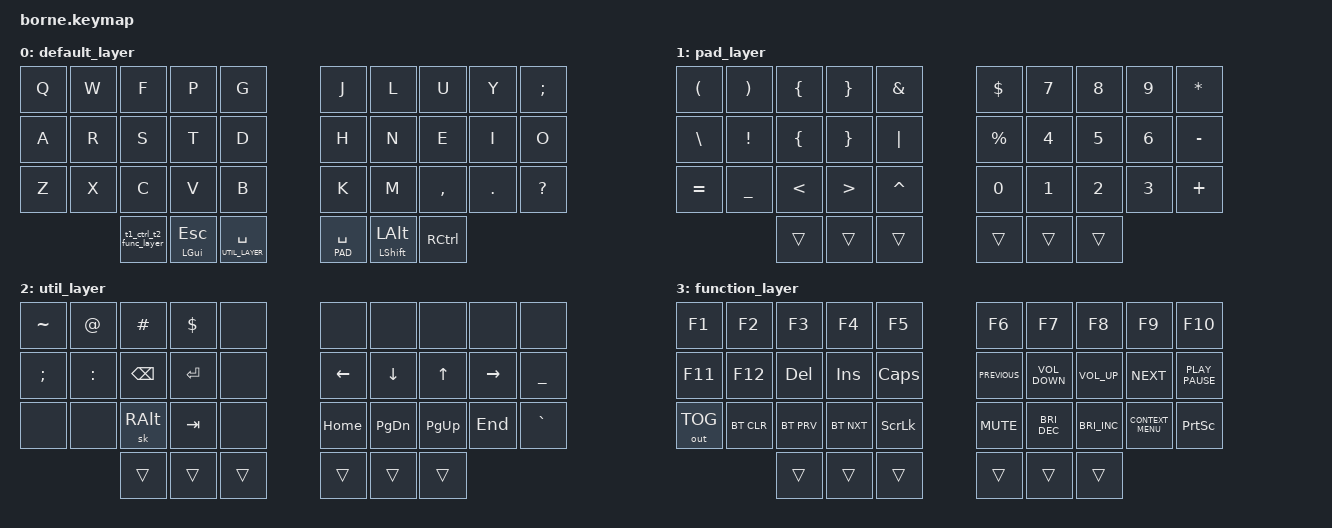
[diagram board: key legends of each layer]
/*
 * Copyright (c) 2022 Gabriel Hansson
 *
 * SPDX-License-Identifier: MIT
 */

#include <behaviors.dtsi>
#include <dt-bindings/zmk/keys.h>
#include <dt-bindings/zmk/bt.h>
#include <dt-bindings/zmk/outputs.h>

// Number is the order in which the layer nodes appear
#define DEFAULT 0
#define PAD 1
#define UTIL_LAYER 2
#define FUNCTION 3

&sk {
    quick-release;
};

&lt {
	flavor = "hold-preferred";
};

/ {
	behaviors {
		t1_ctrl_t2_func_layer: t1_ctrl_t2_func_layer {
			compatible = "zmk,behavior-tap-dance";
			label = "T1_CTRL_T2_FUNC_LAYER";
			#binding-cells = <0>;
			tapping-term-ms = <200>;
			bindings = <&kp LEFT_CONTROL>, <&mo FUNCTION>;
		};

		mod_sticky_tap: mod_sticky_tap {
			compatible = "zmk,behavior-hold-tap";
			label = "MOD_STICKY_TAP";
			#binding-cells = <2>;
			tapping-term-ms = <200>;
			bindings = <&kp>, <&sk>;
		};
	};

	keymap {
		compatible = "zmk,keymap";

		default_layer {
			bindings = <
				&kp Q &kp W &kp F &kp P &kp G &kp J &kp L &kp U &kp Y &kp SEMICOLON
				&kp A &kp R &kp S &kp T &kp D &kp H &kp N &kp E &kp I &kp O
				&kp Z &kp X &kp C &kp V &kp B &kp K &kp M &kp COMMA &kp DOT &kp QUESTION
				&t1_ctrl_t2_func_layer &mt LEFT_GUI ESC &lt UTIL_LAYER SPACE &lt PAD SPACE &mod_sticky_tap LSHIFT LALT &kp RIGHT_CONTROL
			>;
		};

		pad_layer {
			bindings = <
				&kp LEFT_PARENTHESIS &kp RIGHT_PARENTHESIS &kp LEFT_BRACE &kp RIGHT_BRACE &kp AMPERSAND &kp DOLLAR &kp N7 &kp N8 &kp N9 &kp ASTERISK
				&kp BACKSLASH &kp EXCLAMATION &kp LEFT_BRACE &kp RIGHT_BRACE &kp PIPE &kp PERCENT &kp N4 &kp N5 &kp N6 &kp MINUS
				&kp EQUAL &kp UNDERSCORE &kp LESS_THAN &kp GREATER_THAN &kp CARET &kp N0 &kp N1 &kp N2 &kp N3 &kp PLUS
			&trans &trans &trans &trans &trans &trans
		>;
		};

		util_layer {
			bindings = <
				&kp TILDE &kp AT_SIGN &kp HASH &kp DOLLAR &none &none &none &none &none &none 
				&kp SEMICOLON &kp COLON &kp BSPC &kp RET &none &kp LEFT_ARROW &kp DOWN_ARROW &kp UP_ARROW &kp RIGHT_ARROW &kp UNDERSCORE 
				&none &none &sk RIGHT_ALT &kp TAB &none &kp HOME &kp PAGE_DOWN &kp PAGE_UP &kp END &kp GRAVE
				&trans &trans &trans &trans &trans &trans
			>;
		};

		function_layer {
			bindings = <
				&kp F1 &kp F2 &kp F3 &kp F4 &kp F5 &kp F6 &kp F7 &kp F8 &kp F9 &kp F10
				&kp F11 &kp F12 &kp DELETE &kp INSERT &kp CAPSLOCK &kp K_PREVIOUS &kp K_VOLUME_DOWN &kp K_VOLUME_UP &kp K_NEXT &kp K_PLAY_PAUSE
				&out OUT_TOG &bt BT_CLR &bt BT_PRV &bt BT_NXT &kp SCROLLLOCK &kp K_MUTE &kp C_BRIGHTNESS_DEC &kp C_BRIGHTNESS_INC &kp K_CONTEXT_MENU &kp PRINTSCREEN 
				&trans &trans &trans &trans &trans &trans
			>;
		};
	};
};
